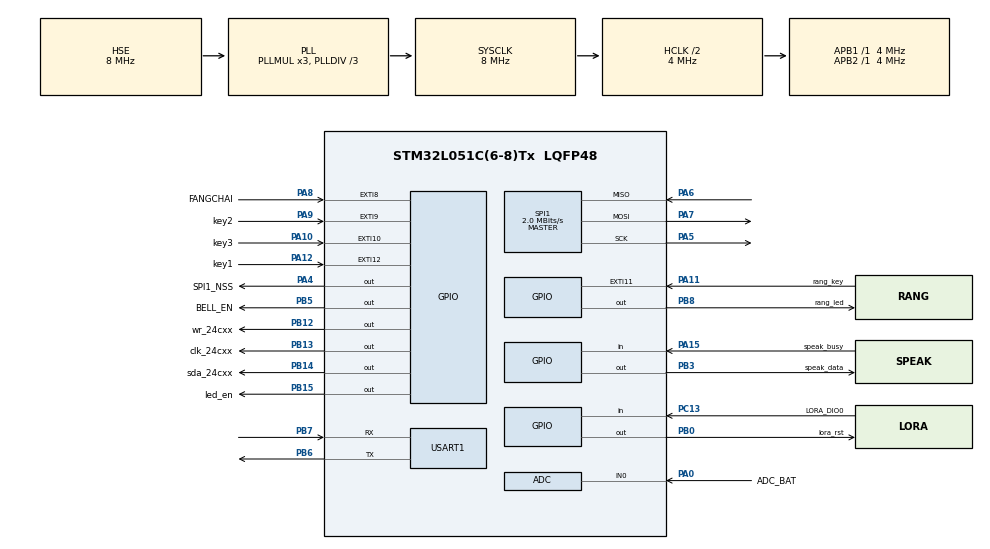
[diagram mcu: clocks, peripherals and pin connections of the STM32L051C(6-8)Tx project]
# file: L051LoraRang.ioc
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Dma.Request0=USART1_RX
Dma.USART1_RX.0.Direction=DMA_PERIPH_TO_MEMORY
Dma.USART1_RX.0.Instance=DMA1_Channel3
Dma.USART1_RX.0.MemDataAlignment=DMA_MDATAALIGN_BYTE
Dma.USART1_RX.0.MemInc=DMA_MINC_ENABLE
Dma.USART1_RX.0.Mode=DMA_NORMAL
Dma.USART1_RX.0.PeriphDataAlignment=DMA_PDATAALIGN_BYTE
Dma.USART1_RX.0.PeriphInc=DMA_PINC_DISABLE
Dma.USART1_RX.0.Priority=DMA_PRIORITY_LOW
Mcu.Family=STM32L0
Mcu.Name=STM32L051C(6-8)Tx
Mcu.Package=LQFP48
NVIC.ADC1_COMP_IRQn=true\:0\:0\:false\:true\:true\:3\:true\:true
NVIC.DMA1_Channel2_3_IRQn=true\:0\:0\:false\:true\:true\:4\:false\:true
NVIC.EXTI4_15_IRQn=true\:2\:0\:true\:true\:true\:2\:true\:true
NVIC.RTC_IRQn=true\:1\:0\:true\:true\:true\:1\:true\:true
NVIC.TIM2_IRQn=true\:0\:0\:false\:false\:true\:false\:true
NVIC.TimeBase=TIM2_IRQn
NVIC.TimeBaseIP=TIM2
NVIC.USART1_IRQn=true\:0\:0\:false\:true\:true\:5\:true\:true
PA0.GPIO_Label=ADC_BAT
PA0.Mode=IN0
PA0.Signal=ADC_IN0
PA10.GPIO_Label=key3
PA10.GPIO_ModeDefaultEXTI=GPIO_MODE_IT_FALLING
PA10.GPIO_PuPd=GPIO_PULLUP
PA10.Signal=GPXTI10
PA11.GPIO_Label=rang_key
PA11.GPIO_ModeDefaultEXTI=GPIO_MODE_IT_FALLING
PA11.GPIO_PuPd=GPIO_PULLUP
PA11.Signal=GPXTI11
PA12.GPIO_Label=key1
PA12.GPIO_ModeDefaultEXTI=GPIO_MODE_IT_FALLING
PA12.GPIO_PuPd=GPIO_PULLUP
PA12.Signal=GPXTI12
PA13.Mode=Serial_Wire
PA13.Signal=SYS_SWDIO
PA14.Mode=Serial_Wire
PA14.Signal=SYS_SWCLK
PA15.GPIO_Label=speak_busy
PA15.GPIO_PuPd=GPIO_NOPULL
PA15.Signal=GPIO_Input
PA4.GPIO_Label=SPI1_NSS
PA4.GPIO_ModeDefaultOutputPP=GPIO_MODE_OUTPUT_PP
PA4.GPIO_PuPd=GPIO_PULLUP
PA4.PinState=GPIO_PIN_SET
PA4.Signal=GPIO_Output
PA5.Mode=Full_Duplex_Master
PA5.Signal=SPI1_SCK
PA6.Mode=Full_Duplex_Master
PA6.Signal=SPI1_MISO
PA7.Mode=Full_Duplex_Master
PA7.Signal=SPI1_MOSI
PA8.GPIO_Label=FANGCHAI
PA8.GPIO_ModeDefaultEXTI=GPIO_MODE_IT_FALLING
PA8.GPIO_PuPd=GPIO_PULLUP
PA8.Signal=GPXTI8
PA9.GPIO_Label=key2
PA9.GPIO_ModeDefaultEXTI=GPIO_MODE_IT_FALLING
PA9.GPIO_PuPd=GPIO_PULLUP
PA9.Signal=GPXTI9
PB0.GPIO_Label=lora_rst
PB0.GPIO_PuPd=GPIO_NOPULL
PB0.PinState=GPIO_PIN_SET
PB0.Signal=GPIO_Output
PB12.GPIO_Label=wr_24cxx
PB12.GPIO_PuPd=GPIO_PULLUP
PB12.PinState=GPIO_PIN_SET
PB12.Signal=GPIO_Output
PB13.GPIO_Label=clk_24cxx
PB13.GPIO_PuPd=GPIO_PULLUP
PB13.PinState=GPIO_PIN_SET
PB13.Signal=GPIO_Output
PB14.GPIO_Label=sda_24cxx
PB14.GPIO_PuPd=GPIO_PULLUP
PB14.PinState=GPIO_PIN_SET
PB14.Signal=GPIO_Output
PB15.GPIO_Label=led_en
PB15.GPIO_PuPd=GPIO_PULLUP
PB15.PinState=GPIO_PIN_SET
PB15.Signal=GPIO_Output
PB3.GPIO_Label=speak_data
PB3.GPIO_PuPd=GPIO_PULLUP
PB3.PinState=GPIO_PIN_SET
PB3.Signal=GPIO_Output
PB5.GPIO_Label=BELL_EN
PB5.GPIO_PuPd=GPIO_PULLUP
PB5.PinState=GPIO_PIN_SET
PB5.Signal=GPIO_Output
PB6.Mode=Asynchronous
PB6.Signal=USART1_TX
PB7.Mode=Asynchronous
PB7.Signal=USART1_RX
PB8.GPIO_FM8=__NULL
PB8.GPIO_Label=rang_led
PB8.GPIO_PuPd=GPIO_PULLUP
PB8.PinState=GPIO_PIN_SET
PB8.Signal=GPIO_Output
PC13.GPIO_Label=LORA_DIO0
PC13.GPIO_PuPd=GPIO_NOPULL
PC13.Signal=GPIO_Input
PH0-OSC_IN.Mode=HSE-External-Oscillator
PH0-OSC_IN.Signal=RCC_OSC_IN
PH1-OSC_OUT.Mode=HSE-External-Oscillator
PH1-OSC_OUT.Signal=RCC_OSC_OUT
ProjectManager.HeapSize=0x400
ProjectManager.StackSize=0x1000
ProjectManager.TargetToolchain=MDK-ARM V5.27
RCC.AHBCLKDivider=RCC_SYSCLK_DIV2
RCC.AHBFreq_Value=4000000
RCC.APB1Freq_Value=4000000
RCC.APB1TimFreq_Value=4000000
RCC.APB2Freq_Value=4000000
RCC.APB2TimFreq_Value=4000000
RCC.EnbaleCSS=true
RCC.HCLKFreq_Value=4000000
RCC.HSE_VALUE=8000000
RCC.HSI16_VALUE=16000000
RCC.HSI_VALUE=16000000
RCC.LSE_VALUE=32768
RCC.MSIClockRange=RCC_MSIRANGE_6
RCC.MSI_VALUE=4194000
RCC.PLLDIV=RCC_PLLDIV_3
RCC.PLLSourceVirtual=RCC_PLLSOURCE_HSE
RCC.SYSCLKFreq_VALUE=8000000
RCC.SYSCLKSource=RCC_SYSCLKSOURCE_PLLCLK
RCC.VCOOutputFreq_Value=24000000
RTC.AsynchPrediv=36
RTC.SynchPrediv=999
RTC.WakeUpClock-WakeUp=RTC_WAKEUPCLOCK_CK_SPRE_16BITS
RTC.WakeUpCounter-WakeUp=600
SPI1.BaudRatePrescaler=SPI_BAUDRATEPRESCALER_2
SPI1.CalculateBaudRate=2.0 MBits/s
SPI1.Direction=SPI_DIRECTION_2LINES
SPI1.Mode=SPI_MODE_MASTER
SPI1.VirtualType=VM_MASTER
USART1.VirtualMode-Asynchronous=VM_ASYNC
VP_RTC_VS_RTC_Activate.Mode=RTC_Enabled
VP_RTC_VS_RTC_WakeUp_intern.Mode=WakeUp
VP_SYS_VS_tim2.Mode=TIM2
board=custom

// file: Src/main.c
/* USER CODE BEGIN Header */
/* USER CODE END Header */

#include "main.h"
#include "adc.h"
#include "dma.h"
#include "rtc.h"
#include "spi.h"
#include "usart.h"
#include "gpio.h"

/* USER CODE BEGIN Includes */
#include "main_app.h"
/* USER CODE END Includes */

/* USER CODE BEGIN PTD */
#define SW_VERSION        "LORA_RING_V1.10_2022-12-08"
/* USER CODE END PTD */

void SystemClock_Config(void);
static void MX_NVIC_Init(void);
/* USER CODE BEGIN PFP */
uint32_t  tim_count=0;
extern uint8_t sleep_flag;
extern uint8_t reset_rang_key;
void SystemClock_Config(void);
extern uint8_t password_key;
uint8_t password_key_value=0;
extern  uint8_t runing_state_flag;
uint8_t init_sleep_flag=0;
void sleep_init();

  uint8_t dev_init_state=1;
  uint8_t reset_sleep_flag=0;
	uint8_t net_suceess_flag=0;

/* USER CODE END 0 */
void Test_Dev()
{
  Line_1A_WT588S(1);
	HAL_Delay(500);
 HAL_GPIO_WritePin(led_en_GPIO_Port,led_en_Pin,GPIO_PIN_RESET);
		HAL_Delay(1000);
	HAL_GPIO_WritePin(led_en_GPIO_Port,led_en_Pin,GPIO_PIN_SET);
}

void bsp_init_main_key()
{
	   GPIO_InitTypeDef GPIO_InitStruct = {0};

    __HAL_RCC_GPIOA_CLK_ENABLE();

	  GPIO_InitStruct.Pin = rang_key_Pin;
    GPIO_InitStruct.Mode = GPIO_MODE_IT_FALLING;
    GPIO_InitStruct.Pull = GPIO_PULLUP;
    HAL_GPIO_Init(GPIOA, &GPIO_InitStruct);

			 GPIO_InitStruct.Pin = FANGCHAI_Pin ;
    GPIO_InitStruct.Mode = GPIO_MODE_IT_FALLING;
    GPIO_InitStruct.Pull = GPIO_NOPULL;  //一定要浮空
    HAL_GPIO_Init(GPIOA, &GPIO_InitStruct);
 // 	__HAL_RCC_GPIOA_CLK_DISABLE();
	     MX_RTC_Init();
			  MX_NVIC_Init();

}

void Wake_Up_Io_Config()
{
	 GPIO_InitTypeDef GPIO_InitStruct = {0};

    __HAL_RCC_GPIOA_CLK_ENABLE();
	  GPIO_InitStruct.Pin  = rang_key_Pin;
    GPIO_InitStruct.Mode = GPIO_MODE_IT_FALLING;
    GPIO_InitStruct.Pull = GPIO_PULLUP;
    HAL_GPIO_Init(GPIOA, &GPIO_InitStruct);

	  HAL_NVIC_SetPriority(EXTI4_15_IRQn, 2, 0);
     HAL_NVIC_EnableIRQ(EXTI4_15_IRQn);

}

void stop_mode_config(void)
{
 GPIO_InitTypeDef GPIO_InitStruct;

 __HAL_RTC_WAKEUPTIMER_EXTI_CLEAR_FLAG();    //clear flag
 __HAL_PWR_CLEAR_FLAG(PWR_FLAG_WU);                //clear Power wakeup flag
  __HAL_RCC_PWR_CLK_ENABLE();
  HAL_PWREx_EnableUltraLowPower();
  HAL_PWREx_EnableFastWakeUp();
  __HAL_RCC_WAKEUPSTOP_CLK_CONFIG(RCC_STOP_WAKEUPCLOCK_MSI);
	__HAL_RCC_GPIOC_CLK_ENABLE();
  __HAL_RCC_GPIOH_CLK_ENABLE();
  __HAL_RCC_GPIOA_CLK_ENABLE();
  __HAL_RCC_GPIOB_CLK_ENABLE();

	GPIO_InitStruct.Pin = led_en_Pin;
  GPIO_InitStruct.Mode = GPIO_MODE_ANALOG;
  GPIO_InitStruct.Pull = GPIO_NOPULL;
  HAL_GPIO_Init(led_en_GPIO_Port, &GPIO_InitStruct);

////////  /*Configure GPIO pin : PtPin */
  GPIO_InitStruct.Pin = SPI1_NSS_Pin;
  GPIO_InitStruct.Mode = GPIO_MODE_ANALOG;
  GPIO_InitStruct.Pull = GPIO_NOPULL;
  HAL_GPIO_Init(SPI1_NSS_GPIO_Port, &GPIO_InitStruct);

//////  /*Configure GPIO pins : PBPin PBPin PBPin PBPin
//////                           PBPin PBPin PBPin */
//////  HAL_GPIO_WritePin(GPIOB, BELL_EN_Pin, GPIO_PIN_RESET); //
    HAL_GPIO_WritePin(GPIOB,  BELL_EN_Pin|speak_data_Pin, GPIO_PIN_RESET);  //下拉低功耗
  GPIO_InitStruct.Pin = lora_rst_Pin|LORA_DIO0_Pin|wr_24cxx_Pin|clk_24cxx_Pin
                          |sda_24cxx_Pin|rang_led_Pin|speak_data_Pin|BELL_EN_Pin;
  GPIO_InitStruct.Mode = GPIO_MODE_ANALOG;
  GPIO_InitStruct.Pull = GPIO_PULLUP;
  HAL_GPIO_Init(GPIOB, &GPIO_InitStruct);

    GPIO_InitStruct.Pin = GPIO_PIN_6|GPIO_PIN_7;
    GPIO_InitStruct.Mode = GPIO_MODE_ANALOG;
    GPIO_InitStruct.Pull = GPIO_NOPULL;
    HAL_GPIO_Init(GPIOB, &GPIO_InitStruct);

    GPIO_InitStruct.Pin = key2_Pin|key3_Pin|key1_Pin;
    GPIO_InitStruct.Mode = GPIO_MODE_ANALOG;
    GPIO_InitStruct.Pull = GPIO_NOPULL;
    HAL_GPIO_Init(GPIOA, &GPIO_InitStruct);

////////  /*Configure GPIO pin : PtPin */
    GPIO_InitStruct.Pin = speak_busy_Pin;
    GPIO_InitStruct.Mode = GPIO_MODE_ANALOG;
    GPIO_InitStruct.Pull = GPIO_NOPULL;
    HAL_GPIO_Init(speak_busy_GPIO_Port, &GPIO_InitStruct);

  __HAL_RCC_GPIOA_CLK_DISABLE();
  __HAL_RCC_GPIOB_CLK_DISABLE();
  __HAL_RCC_GPIOC_CLK_DISABLE();
  __HAL_RCC_GPIOH_CLK_DISABLE();

}
extern uint8_t rang_key_flag;
extern uint8_t fangchai_flag;
void valve_enter_ed_stop_mode(void)
{
  //config main key with interrupt

	      sleep_flag=1;
     bsp_init_main_key() ;

  __HAL_RCC_PWR_CLK_ENABLE();
  __HAL_UART_DISABLE_IT(&huart1, UART_IT_IDLE);
  HAL_PWR_EnterSTOPMode(PWR_LOWPOWERREGULATOR_ON, PWR_STOPENTRY_WFI);
//	    HAL_Delay(5);
   //  sleep_init();
//		 printf("wkup...\r\n");
//	 printf("rang_key_flag=%d\r\n",rang_key_flag);
//	 printf("fangchai_flag=%d\r\n",fangchai_flag);
}
void sleep_open()
{

  SX127X_SleepMode(); //睡眠模式
	stop_mode_config();
	valve_enter_ed_stop_mode();
}

void Sleep_Into()
{

  //   __HAL_RTC_WAKEUPTIMER_EXTI_CLEAR_FLAG();
	 //  __HAL_GPIO_EXTI_CLEAR_IT(0x7FFFF);
	    SX127X_SleepMode(); //睡眠模式
	     stop_mode_config();
//	   bsp_init_main_key() ;
	   Wake_Up_Io_Config();
    __HAL_RCC_PWR_CLK_ENABLE();
  HAL_PWR_EnterSTOPMode(PWR_LOWPOWERREGULATOR_ON, PWR_STOPENTRY_WFI);

}

void sleep_init()
{
    /* USER CODE BEGIN SysInit */
	   HAL_UART_DeInit(&huart1);
	HAL_GPIO_DeInit(GPIOA, GPIO_PIN_All);

	HAL_GPIO_DeInit(GPIOC, GPIO_PIN_All);
  HAL_GPIO_DeInit(GPIOH, GPIO_PIN_All);

//       HAL_UART_DeInit(&hlpuart1);
	     HAL_Init();
  /* USER CODE BEGIN Init */

  /* USER CODE END Init */

  /* Configure the system clock */
  SystemClock_Config();

  /* USER CODE BEGIN SysInit */
      HAL_UART_DeInit(&huart1);
	     HAL_ADC_DeInit(&hadc);
	     HAL_SPI_DeInit(&hspi1);
//		HAL_GPIO_DeInit(GPIOB, GPIO_PIN_15);
  /* USER CODE END SysInit */
  /* Initialize all configured peripherals */
  MX_GPIO_Init();
  MX_ADC_Init();
  MX_USART1_UART_Init();
  MX_SPI1_Init();
  MX_RTC_Init();

//  /* Initialize interrupts */
   MX_NVIC_Init();
	// 	debug_usart_dma_open();
  /* USER CODE BEGIN 2 */
	app_lora_config_init();
}
extern uint8_t reset_rang_flag;
void  Reset_Process()
{

			do{
				   switch(dev_init_state)
		        {
			       case 0 :

				              Sleep_Into();
						          sleep_init();
                     dev_init_state=1;
			        break;
			       case 1 :

			  	net_suceess_flag=factory_parameter_set();
					    	 process_usart_data();
				      if(reset_rang_key==1)
				      {
						   HAL_NVIC_SystemReset();
					      reset_rang_key=0;
				      }
				     break;

						}
			}while(net_suceess_flag!=1);
			dev_init_state=3;

}

/* USER CODE END PFP */

int main(void)
{

  /* MCU Configuration--------------------------------------------------------*/

  /* Reset of all peripherals, Initializes the Flash interface and the Systick. */
  HAL_Init();

  /* Configure the system clock */
  SystemClock_Config();

  /* Initialize all configured peripherals */
  MX_GPIO_Init();
  MX_DMA_Init();
  MX_ADC_Init();
  MX_SPI1_Init();
//  MX_RTC_Init();
  MX_USART1_UART_Init();

  /* Initialize interrupts */
   MX_NVIC_Init();
  /* USER CODE BEGIN 2 */
  	Init_Dev_Param();
	 debug_usart_dma_open();

	app_lora_config_init();
   Test_Dev();
	 	Reset_Process();
	 printf("进入sleep");

		  sleep_open();
  /* USER CODE END 2 */

  /* Infinite loop */
  /* USER CODE BEGIN WHILE */

	 while(1)
	 {
		 lora_process();
		 check_rung_state();
		 check_vol_task();
     chongfa_lora_data();
	 }

    /* USER CODE END WHILE */

}

void SystemClock_Config(void)
{
  RCC_OscInitTypeDef RCC_OscInitStruct = {0};
  RCC_ClkInitTypeDef RCC_ClkInitStruct = {0};
  RCC_PeriphCLKInitTypeDef PeriphClkInit = {0};

  /** Configure the main internal regulator output voltage
  */
  __HAL_PWR_VOLTAGESCALING_CONFIG(PWR_REGULATOR_VOLTAGE_SCALE1);
  /** Initializes the CPU, AHB and APB busses clocks
  */
  RCC_OscInitStruct.OscillatorType = RCC_OSCILLATORTYPE_LSI|RCC_OSCILLATORTYPE_HSE;
  RCC_OscInitStruct.HSEState = RCC_HSE_ON;
  RCC_OscInitStruct.LSIState = RCC_LSI_ON;
  RCC_OscInitStruct.PLL.PLLState = RCC_PLL_ON;
  RCC_OscInitStruct.PLL.PLLSource = RCC_PLLSOURCE_HSE;
  RCC_OscInitStruct.PLL.PLLMUL = RCC_PLLMUL_3;
  RCC_OscInitStruct.PLL.PLLDIV = RCC_PLLDIV_3;
  if (HAL_RCC_OscConfig(&RCC_OscInitStruct) != HAL_OK)
  {
    Error_Handler();
  }
  /** Initializes the CPU, AHB and APB busses clocks
  */
  RCC_ClkInitStruct.ClockType = RCC_CLOCKTYPE_HCLK|RCC_CLOCKTYPE_SYSCLK
                              |RCC_CLOCKTYPE_PCLK1|RCC_CLOCKTYPE_PCLK2;
  RCC_ClkInitStruct.SYSCLKSource = RCC_SYSCLKSOURCE_PLLCLK;
  RCC_ClkInitStruct.AHBCLKDivider = RCC_SYSCLK_DIV2;
  RCC_ClkInitStruct.APB1CLKDivider = RCC_HCLK_DIV1;
  RCC_ClkInitStruct.APB2CLKDivider = RCC_HCLK_DIV1;

  if (HAL_RCC_ClockConfig(&RCC_ClkInitStruct, FLASH_LATENCY_0) != HAL_OK)
  {
    Error_Handler();
  }
  PeriphClkInit.PeriphClockSelection = RCC_PERIPHCLK_USART1|RCC_PERIPHCLK_RTC;
  PeriphClkInit.Usart1ClockSelection = RCC_USART1CLKSOURCE_PCLK2;
  PeriphClkInit.RTCClockSelection = RCC_RTCCLKSOURCE_LSI;
  if (HAL_RCCEx_PeriphCLKConfig(&PeriphClkInit) != HAL_OK)
  {
    Error_Handler();
  }
  /** Enables the Clock Security System
  */
  HAL_RCC_EnableCSS();
}

/**
  * @brief NVIC Configuration.
  * @retval None
  */
static void MX_NVIC_Init(void)
{
  /* RTC_IRQn interrupt configuration */
  HAL_NVIC_SetPriority(RTC_IRQn, 1, 0);
  HAL_NVIC_EnableIRQ(RTC_IRQn);
  /* EXTI4_15_IRQn interrupt configuration */
  HAL_NVIC_SetPriority(EXTI4_15_IRQn, 2, 0);
  HAL_NVIC_EnableIRQ(EXTI4_15_IRQn);
  /* ADC1_COMP_IRQn interrupt configuration */
  HAL_NVIC_SetPriority(ADC1_COMP_IRQn, 0, 0);
  HAL_NVIC_EnableIRQ(ADC1_COMP_IRQn);
  /* DMA1_Channel2_3_IRQn interrupt configuration */
  HAL_NVIC_SetPriority(DMA1_Channel2_3_IRQn, 1, 0);
  HAL_NVIC_EnableIRQ(DMA1_Channel2_3_IRQn);
  /* USART1_IRQn interrupt configuration */
  HAL_NVIC_SetPriority(USART1_IRQn, 2, 1);
  HAL_NVIC_EnableIRQ(USART1_IRQn);
}

/* USER CODE BEGIN 4 */
uint32_t system_tick_count=0;
uint32_t sleep_tick_count=0;

uint32_t beep_tick_count=0;
uint32_t beep_500ms_tick_count=0;

extern uint32_t tim_tick;
extern uint8_t tim_tick_flag;
/* USER CODE END 4 */

 /**
  * @brief  Period elapsed callback in non blocking mode
  * @note   This function is called  when TIM2 interrupt took place, inside
  * HAL_TIM_IRQHandler(). It makes a direct call to HAL_IncTick() to increment
  * a global variable "uwTick" used as application time base.
  * @param  htim : TIM handle
  * @retval None
  */
void HAL_TIM_PeriodElapsedCallback(TIM_HandleTypeDef *htim)
{
  /* USER CODE BEGIN Callback 0 */
	 if (htim->Instance == TIM2)
	 {
		   //超时30秒 电池电量
	    if(tim_tick_flag==1)
			{
				tim_tick++;
				if(tim_tick>30000)
				{
					tim_tick_flag=2; //超时
					tim_tick=0;
				}

			}
			else
			{
				tim_tick=0;
			}
		}
  /* USER CODE END Callback 0 */
  if (htim->Instance == TIM2) {
		beep_tick_count++;  //时钟计数
		if(beep_tick_count>500)
		{
			beep_tick_count=0;
			beep_500ms_tick_count++;

		}
    HAL_IncTick();
  }
  /* USER CODE BEGIN Callback 1 */
	        if(dev_init_state==1)
        {
              system_tick_count++;
                if(system_tick_count%1000==0)
                    {
                        system_tick_count=0;
                        sleep_tick_count++;
                    }
               if(sleep_tick_count>60)
                 {
                     sleep_tick_count=0;
                     dev_init_state=0;
                 }
        }
        else
        {
            sleep_tick_count=0;
            system_tick_count=0;
        }

  /* USER CODE END Callback 1 */
}

void Error_Handler(void)
{
}

/************************ (C) COPYRIGHT STMicroelectronics *****END OF FILE****/
